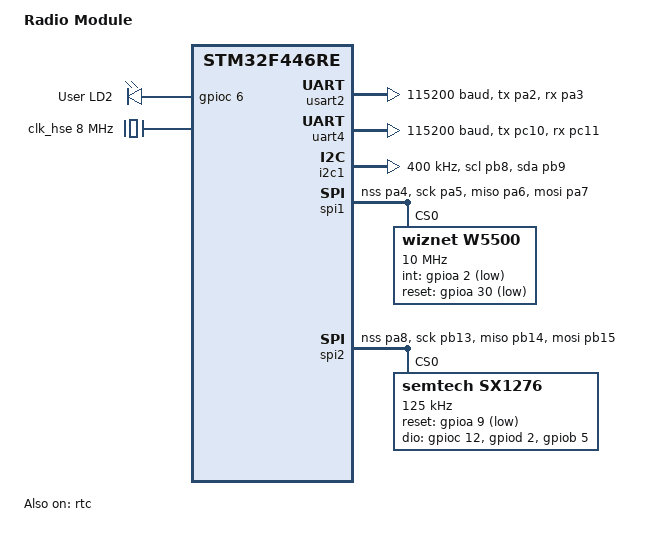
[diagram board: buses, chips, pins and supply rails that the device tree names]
/*
 * Copyright (c) 2018 Philémon Jaermann
 *
 * SPDX-License-Identifier: Apache-2.0
 */

/dts-v1/;
#include <st/f4/stm32f446Xe.dtsi>
#include <st/f4/stm32f446r(c-e)tx-pinctrl.dtsi>
#include <zephyr/dt-bindings/input/input-event-codes.h>
#include "radio_module-pinctrl.dtsi"

/ {
	model = "Radio Module";
	compatible = "st,stm32f446re-nucleo";

	chosen {
		zephyr,console = &uart4;
		zephyr,shell-uart = &uart4;
		zephyr,sram = &sram0;
		zephyr,flash = &flash0;
	};

	leds: leds {
		compatible = "gpio-leds";
		green_led_2: led_2 {
			gpios = <&gpioc 6 GPIO_ACTIVE_HIGH>;
			label = "User LD2";
		};
	};

	aliases {
		led0 = &green_led_2;
	};
};

&clk_lsi {
	status = "okay";
};

&clk_hse {
	hse-bypass;
	clock-frequency = <DT_FREQ_M(8)>; /* STLink 8MHz clock */
	status = "okay";
};

&pll {
	div-m = <8>;
	mul-n = <384>;
	div-p = <4>;
	div-q = <8>;
	clocks = <&clk_hse>;
	status = "okay";
};

&rcc {
	clocks = <&pll>;
	clock-frequency = <DT_FREQ_M(96)>;
	ahb-prescaler = <1>;
	apb1-prescaler = <2>;
	apb2-prescaler = <1>;
};

&usart2 {
	pinctrl-0 = <&usart2_tx_pa2 &usart2_rx_pa3>;
	pinctrl-names = "default";
	current-speed = <115200>;
	status = "okay";
};

&uart4 {
	pinctrl-0 = <&uart4_tx_pc10 &uart4_rx_pc11>;
	pinctrl-names = "default";
	current-speed = <115200>;
	status = "okay";
};

&i2c1 {
	pinctrl-0 = <&i2c1_scl_pb8 &i2c1_sda_pb9>;
	pinctrl-names = "default";
	status = "okay";
	clock-frequency = <I2C_BITRATE_FAST>;
};

&spi1 {
	pinctrl-0 = <&spi1_nss_pa4 &spi1_sck_pa5
		     &spi1_miso_pa6 &spi1_mosi_pa7>;
	pinctrl-names = "default";
	status = "okay";

    w5500: w5500@0 {
        compatible = "wiznet,w5500";
        label = "w5500";
        reg = <0x0>;
        spi-max-frequency = <10000000>;
        int-gpios = <&gpioa 2 GPIO_ACTIVE_LOW>;
        reset-gpios = <&gpioa 30 GPIO_ACTIVE_LOW>;
    };
};

&spi2 {
    pinctrl-0 = <&spi2_nss_pa8 &spi2_sck_pb13
		     &spi2_miso_pb14 &spi2_mosi_pb15>;
	pinctrl-names = "default";
	status = "okay";

    lora: sx1276@0 {
		compatible = "semtech,sx1276";
		label = "sx1276";
		reg = <0>;
		reset-gpios = <&gpioa 9 GPIO_ACTIVE_LOW>;
		dio-gpios = <&gpioc 12 (GPIO_PULL_DOWN | GPIO_ACTIVE_HIGH)>,
					<&gpiod 2 (GPIO_PULL_DOWN | GPIO_ACTIVE_HIGH)>,
					<&gpiob 5 (GPIO_PULL_DOWN | GPIO_ACTIVE_HIGH)>;
		power-amplifier-output = "pa-boost";
		spi-max-frequency = <125000>;
	};
};

&rtc {
	clocks = <&rcc STM32_CLOCK_BUS_APB1 0x10000000>,
		 <&rcc STM32_SRC_LSI RTC_SEL(2)>;
	status = "okay";
};

&backup_sram {
	status = "okay";
};

&flash0 {
	partitions {
		compatible = "fixed-partitions";
		#address-cells = <1>;
		#size-cells = <1>;

		boot_partition: partition@0 {
			label = "mcuboot";
			reg = <0x00000000 DT_SIZE_K(64)>;
			read-only;
		};

		/*
		 * The flash starting at 0x00010000 and ending at
		 * 0x0001ffff (sectors 16-31) is reserved for use
		 * by the application.
		 */
		storage_partition: partition@10000 {
			label = "storage";
			reg = <0x00010000 DT_SIZE_K(64)>;
		};

		slot0_partition: partition@20000 {
			label = "image-0";
			reg = <0x00020000 DT_SIZE_K(128)>;
		};
		slot1_partition: partition@40000 {
			label = "image-1";
			reg = <0x00040000 DT_SIZE_K(128)>;
		};
		scratch_partition: partition@60000 {
			label = "image-scratch";
			reg = <0x00060000 DT_SIZE_K(128)>;
		};
	};
};
